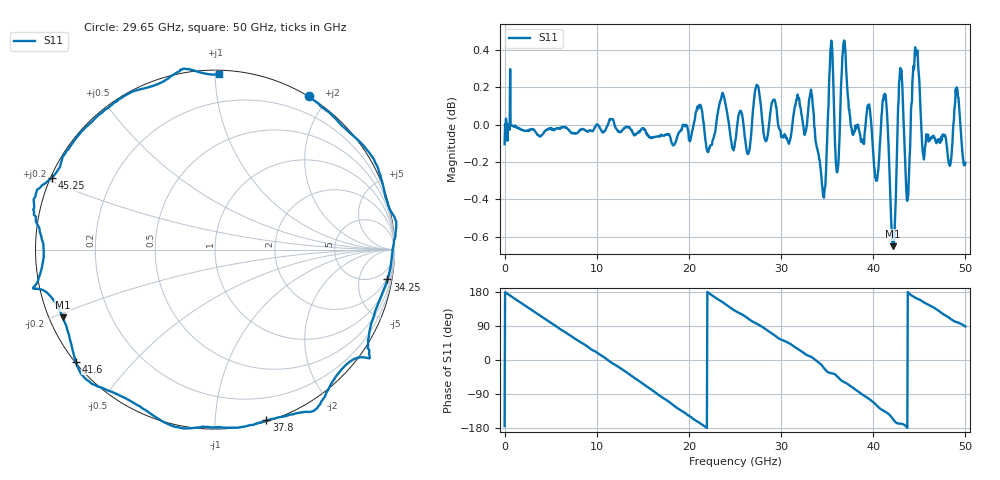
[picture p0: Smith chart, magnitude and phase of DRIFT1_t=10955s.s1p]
!Created with skrf (http://scikit-rf.org).
# Hz S RI R 50.0
!freq ReS11 ImS11
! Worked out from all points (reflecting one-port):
!   1001 points, 300 kHz to 50 GHz, reference 50 ohm
!   lowest |S11| = -0.6 dB at 42.15 GHz (marker M1), VSWR 26.74, Z = 1.95 - j10.6 ohm
!   phase of S11 starts at -175 deg and turns -817 deg over the sweep
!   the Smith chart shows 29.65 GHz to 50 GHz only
!   S11 on the Smith chart (normalised r, x): 29.65 GHz: -0.00, +1.79; 34.25 GHz: 2, -11; 37.8 GHz: 0.01, -1.35; 41.6 GHz: 0.00, -0.35; 45.25 GHz: 0.00, +0.21; 50 GHz: 0.02, +1.02
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300000  -0.9836 -0.0927
1.500291e9  -0.9058 0.4188
3.25028e9  -0.5917 0.8017
6.250262e9  0.2028 0.9776
9.500243e9  0.8923 0.4425
1.250022e10  0.9317 -0.3503
1.580021e10  0.2367 -0.9632
1.74002e10  -0.2246 -0.9678
1.875019e10  -0.599 -0.7918
2.150017e10  -0.9935 -0.1492
2.350016e10  -0.922 0.4278
2.500015e10  -0.6342 0.7597
2.740014e10  -0.094 1.02
2.965012e10  0.5235 0.8536
3.125011e10  0.7863 0.6195
3.31001e10  1.001 0.1778
3.425009e10  0.9605 -0.1663
3.520009e10  0.8594 -0.5581
3.750008e10  0.3747 -0.9319
3.780007e10  0.2868 -0.9514
3.955006e10  -0.2212 -0.9881
4.160005e10  -0.7756 -0.6236
4.215005e10  -0.8481 -0.3765
4.290004e10  -1.01 -0.2181
4.375004e10  -0.9558 0.0113
4.525003e10  -0.9105 0.4001
4.775001e10  -0.4781 0.8702
5e10  0.0244 0.9764
